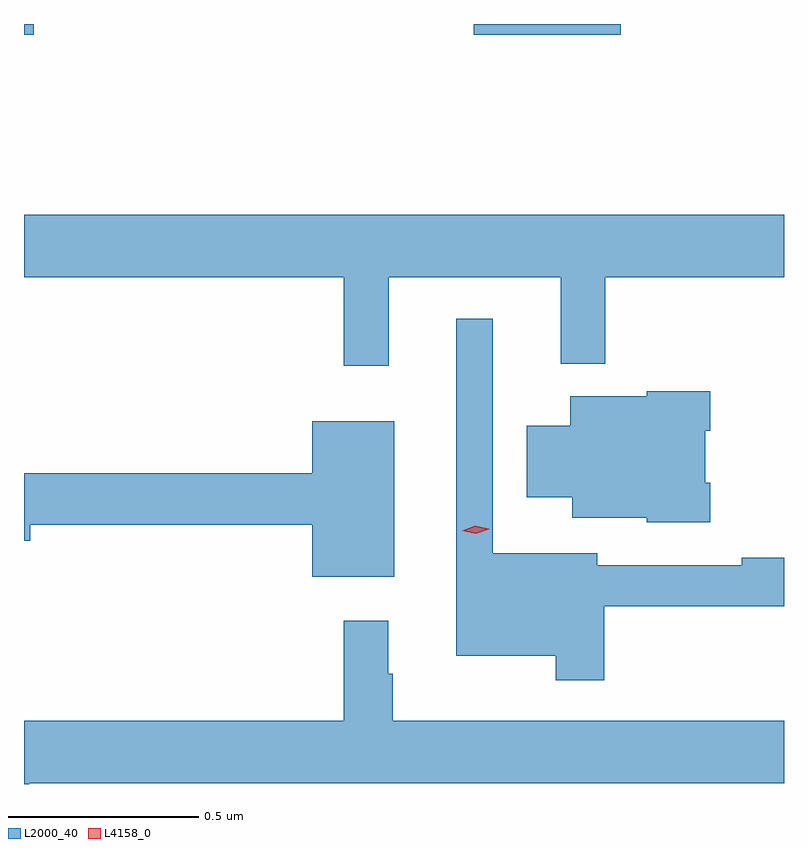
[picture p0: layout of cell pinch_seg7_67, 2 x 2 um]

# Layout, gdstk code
import gdstk
lib = gdstk.Library(unit=1e-6, precision=1e-09)
def R(c, l, rs):  # rectangles x0, y0, x1, y1
    for r in rs: c.add(gdstk.rectangle(r[:2], r[2:], *l))
def P(c, l, *ps):  # polygons
    for p in ps: c.add(gdstk.Polygon(p, *l))
L2000_40 = (2000, 40)
L4158_0 = (4158, 0)

pinch_seg7_67 = lib.new_cell('pinch_seg7_67')
R(pinch_seg7_67, L2000_40, [(969.125,1073.182,969.151,1073.21), (970.308,1073.182,970.696,1073.21)])
P(pinch_seg7_67, L2000_40, [(970.085,1072.544),(970.538,1072.544),(970.538,1072.316),(970.655,1072.316),(970.655,1072.544),(971.125,1072.544),(971.125,1072.708),(969.125,1072.708),(969.125,1072.544),(969.967,1072.544),(969.967,1072.311),(970.085,1072.311)],
  [(970.652,1071.678),(971.125,1071.678),(971.125,1071.806),(971.014,1071.806),(971.014,1071.786),(970.633,1071.786),(970.633,1071.817),(970.359,1071.817),(970.359,1072.435),(970.262,1072.435),(970.262,1071.548),(970.524,1071.548),(970.524,1071.483),(970.652,1071.483)],
  [(970.931,1072.003),(970.918,1072.003),(970.918,1072.139),(970.931,1072.139),(970.931,1072.243),(970.764,1072.243),(970.764,1072.231),(970.562,1072.231),(970.562,1072.153),(970.448,1072.153),(970.448,1071.965),(970.568,1071.965),(970.568,1071.911),(970.764,1071.911),(970.764,1071.899),(970.931,1071.899)],
  [(970.099,1072.165),(969.884,1072.165),(969.884,1072.028),(969.125,1072.028),(969.125,1071.85),(969.142,1071.85),(969.142,1071.892),(969.884,1071.892),(969.884,1071.755),(970.099,1071.755)],
  [(969.139,1071.212),(971.125,1071.212),(971.125,1071.376),(970.096,1071.376),(970.096,1071.5),(970.084,1071.5),(970.084,1071.64),(969.967,1071.64),(969.967,1071.376),(969.125,1071.376),(969.125,1071.21),(969.139,1071.21)])
P(pinch_seg7_67, L4158_0, [(970.314,1071.869),(970.278,1071.876),(970.278,1071.877),(970.278,1071.877),(970.313,1071.889),(970.348,1071.882),(970.349,1071.881),(970.348,1071.881)])

lib.write_gds('pinch_seg7_67.gds')
